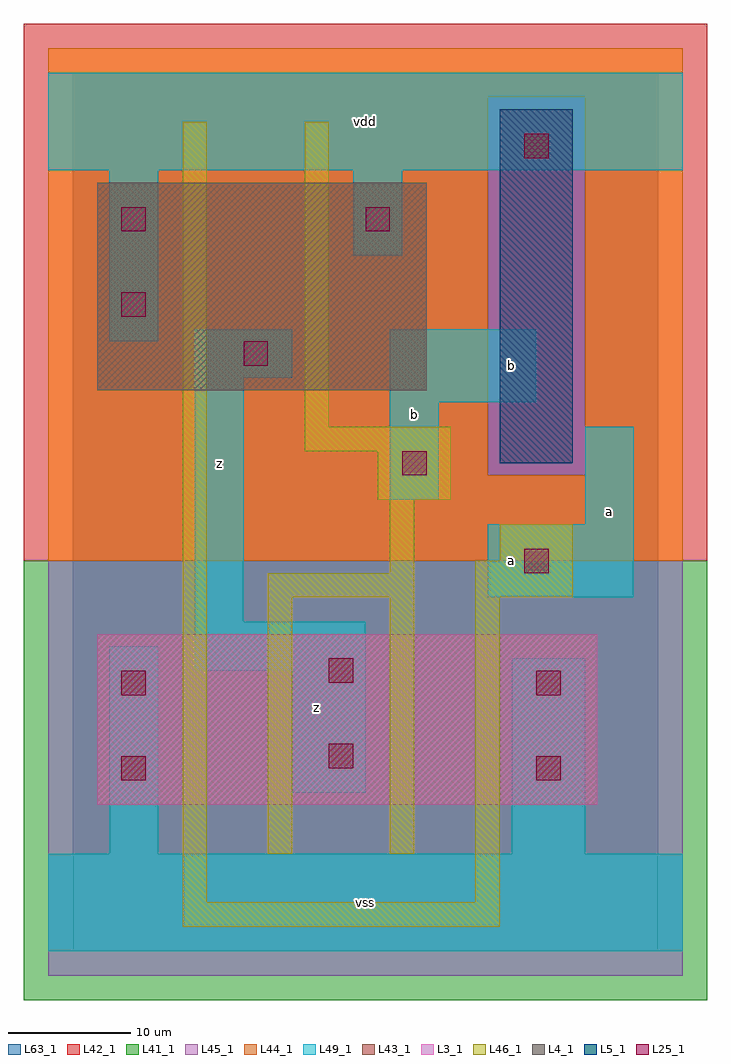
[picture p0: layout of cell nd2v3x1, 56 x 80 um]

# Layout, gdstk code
import gdstk
lib = gdstk.Library(unit=1e-6, precision=1e-09)
def R(c, l, rs):  # rectangles x0, y0, x1, y1
    for r in rs: c.add(gdstk.rectangle(r[:2], r[2:], *l))
L3_1 = (3, 1)
L4_1 = (4, 1)
L5_1 = (5, 1)
L25_1 = (25, 1)
L41_1 = (41, 1)
L42_1 = (42, 1)
L43_1 = (43, 1)
L44_1 = (44, 1)
L45_1 = (45, 1)
L46_1 = (46, 1)
L49_1 = (49, 1)
L63_1 = (63, 1)

nd2v3x1 = lib.new_cell('nd2v3x1')
R(nd2v3x1, L3_1, [(2,12,43,26)])
R(nd2v3x1, L4_1, [(2,46,29,63)])
R(nd2v3x1, L5_1, [(35,40,41,69)])
R(nd2v3x1, L25_1, [(4,14,6,16), (38,14,40,16), (21,15,23,17), (4,21,6,23), (38,21,40,23), (21,22,23,24), (37,31,39,33), (27,39,29,41), (14,48,16,50), (4,52,6,54), (4,59,6,61), (24,59,26,61), (37,65,39,67)])
R(nd2v3x1, L41_1, [(-4,-4,52,32)])
R(nd2v3x1, L42_1, [(-4,32,52,76)])
R(nd2v3x1, L43_1, [(2,12,43,26), (35,40,41,69), (2,46,29,63)])
R(nd2v3x1, L44_1, [(-2,32,50,39), (-2,39,34,70), (42,39,50,70), (-2,70,50,74)])
R(nd2v3x1, L45_1, [(-2,-2,50,32), (34,39,42,70)])
R(nd2v3x1, L46_1, [(9,2,35,4), (9,4,11,68), (33,4,35,29), (16,8,18,29), (26,8,28,29), (16,29,28,31), (33,29,41,32), (26,31,28,37), (35,32,41,35), (25,37,31,41), (19,41,31,43), (19,43,21,68)])
R(nd2v3x1, L49_1, [(-2,0,50,8), (3,8,7,25), (36,8,42,24), (18,13,24,23), (10,23,24,27), (10,27,14,47), (34,29,46,35), (42,35,46,43), (26,37,30,45), (26,45,38,51), (10,47,18,51), (3,50,7,64), (23,57,27,64), (-2,64,50,72)])
R(nd2v3x1, L63_1, [(0,0,48,72)])
nd2v3x1.add(gdstk.Label('z', (20,20), layer=49, texttype=1))
nd2v3x1.add(gdstk.Label('z', (12,40), layer=49, texttype=1))
nd2v3x1.add(gdstk.Label('vss', (24,4), layer=49, texttype=1))
nd2v3x1.add(gdstk.Label('b', (28,44), layer=49, texttype=1))
nd2v3x1.add(gdstk.Label('vdd', (24,68), layer=49, texttype=1))
nd2v3x1.add(gdstk.Label('a', (36,32), layer=49, texttype=1))
nd2v3x1.add(gdstk.Label('a', (44,36), layer=49, texttype=1))
nd2v3x1.add(gdstk.Label('b', (36,48), layer=49, texttype=1))

lib.write_gds('nd2v3x1.gds')
